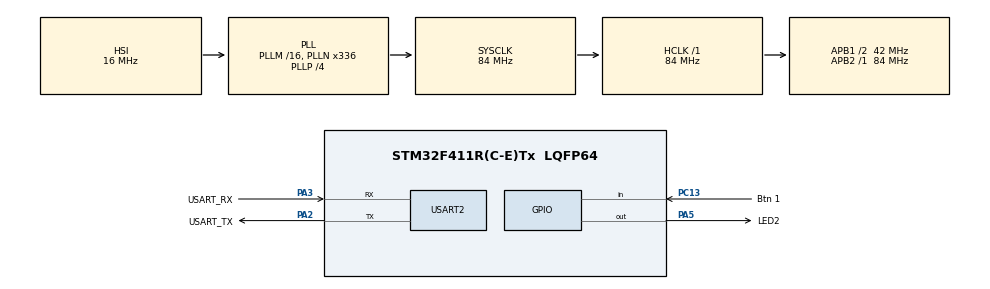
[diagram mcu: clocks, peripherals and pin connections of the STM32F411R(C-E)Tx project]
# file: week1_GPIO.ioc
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Mcu.Family=STM32F4
Mcu.Name=STM32F411R(C-E)Tx
Mcu.Package=LQFP64
NVIC.PriorityGroup=NVIC_PRIORITYGROUP_0
PA13.GPIO_Label=TMS
PA13.Mode=Serial_Wire
PA13.Signal=SYS_JTMS-SWDIO
PA14.GPIO_Label=TCK
PA14.Mode=Serial_Wire
PA14.Signal=SYS_JTCK-SWCLK
PA2.GPIO_Label=USART_TX
PA2.Mode=Asynchronous
PA2.Signal=USART2_TX
PA3.GPIO_Label=USART_RX
PA3.Mode=Asynchronous
PA3.Signal=USART2_RX
PA5.GPIO_Label=LED2
PA5.Signal=GPIO_Output
PB3.GPIO_Label=SWO
PB3.Signal=SYS_JTDO-SWO
PC13-ANTI_TAMP.GPIO_Label=Btn 1
PC13-ANTI_TAMP.Signal=GPIO_Input
PC14-OSC32_IN.Mode=LSE-External-Oscillator
PC14-OSC32_IN.Signal=RCC_OSC32_IN
PC15-OSC32_OUT.Mode=LSE-External-Oscillator
PC15-OSC32_OUT.Signal=RCC_OSC32_OUT
PH0\ -\ OSC_IN.Mode=HSE-External-Clock-Source
PH0\ -\ OSC_IN.Signal=RCC_OSC_IN
PH1\ -\ OSC_OUT.Mode=HSE-External-Clock-Source
PH1\ -\ OSC_OUT.Signal=RCC_OSC_OUT
ProjectManager.HeapSize=0x200
ProjectManager.StackSize=0x400
ProjectManager.TargetToolchain=STM32CubeIDE
RCC.48MHZClocksFreq_Value=84000000
RCC.AHBFreq_Value=84000000
RCC.APB1CLKDivider=RCC_HCLK_DIV2
RCC.APB1Freq_Value=42000000
RCC.APB1TimFreq_Value=84000000
RCC.APB2Freq_Value=84000000
RCC.APB2TimFreq_Value=84000000
RCC.CortexFreq_Value=84000000
RCC.FLatency-AdvancedSettings=FLASH_LATENCY_2
RCC.HCLKFreq_Value=84000000
RCC.HSE_VALUE=8000000
RCC.HSI_VALUE=16000000
RCC.PLLN=336
RCC.PLLP=RCC_PLLP_DIV4
RCC.SYSCLKFreq_VALUE=84000000
RCC.SYSCLKSource=RCC_SYSCLKSOURCE_PLLCLK
RCC.VCOOutputFreq_Value=336000000
USART2.VirtualMode=VM_ASYNC
board=NUCLEO-F411RE

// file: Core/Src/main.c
/* USER CODE BEGIN Header */
/**
  ******************************************************************************
  * @file           : main.c
  * @brief          : Main program body
  ******************************************************************************
  * @attention
  *
  * Copyright (c) 2022 STMicroelectronics.
  * All rights reserved.
  *
  * This software is licensed under terms that can be found in the LICENSE file
  * in the root directory of this software component.
  * If no LICENSE file comes with this software, it is provided AS-IS.
  *
  ******************************************************************************
  */
/* USER CODE END Header */
#include "main.h"

/* USER CODE BEGIN Includes */
#include "tresta.cpp"
/* USER CODE END Includes */

UART_HandleTypeDef huart2;

/* USER CODE BEGIN PV */
uint16_t counttera = 0;
uint16_t countterb = 0;
/* USER CODE END PV */

void SystemClock_Config(void);
static void MX_GPIO_Init(void);
static void MX_USART2_UART_Init(void);

int main(void)
{
  /* USER CODE BEGIN 1 */
	//int a;
  /* USER CODE END 1 */

  /* MCU Configuration--------------------------------------------------------*/

  /* Reset of all peripherals, Initializes the Flash interface and the Systick. */
  HAL_Init();

  /* Configure the system clock */
  SystemClock_Config();

  /* Initialize all configured peripherals */
  MX_GPIO_Init();
  MX_USART2_UART_Init();

  /* Infinite loop */
  /* USER CODE BEGIN WHILE */
  while (1)
  {
	  /*----1-----set pin--------------------*/
//	  HAL_GPIO_WritePin(GPIOA, GPIO_PIN_5, GPIO_PIN_SET); // LED2 PA5

	  /*----2------Button pin----------------*/
//	  GPIO_PinState BtnVal = HAL_GPIO_ReadPin(GPIOC, GPIO_PIN_13); // Button Read P C 13
//	  HAL_GPIO_WritePin(GPIOA, GPIO_PIN_5, BtnVal); // LED2 PA5

	  /*----3------toggle pin----------------*/
//	  static GPIO_PinState BtnArl[2] = {0};
//	  BtnArl[0] =  HAL_GPIO_ReadPin(GPIOC, GPIO_PIN_13); // Button Read P C 13
//	  if (BtnArl[1] == GPIO_PIN_SET && BtnArl[0] == GPIO_PIN_RESET)
//	  {
//		  HAL_GPIO_TogglePin(GPIOA, GPIO_PIN_5);
//	  }
//	  BtnArl[1] = BtnArl[0];

	  /*----4------1KHz button--------------------*/
//	  HAL_GPIO_TogglePin(GPIOA, GPIO_PIN_5);
//	  HAL_Delay(500);

	  /*----5------1KHz btn-gettik-------------------*/
//	  static uint32_t timestp = 0;
//	  if(HAL_GetTick() - timestp >= 500){ // 500 means (500,1) -> (500,0)
//		  timestp = HAL_GetTick(); // stamp time
//		  HAL_GPIO_TogglePin(GPIOA, GPIO_PIN_5);
//	  }

	  /*----6---- 1KHz - 500Hz LED shuffle-------------*/
//	  static GPIO_PinState BtnArl[2] = {0};
//	  static uint32_t freq = 500; //ms
//	  BtnArl[0] =  HAL_GPIO_ReadPin(GPIOC, GPIO_PIN_13); // Button Read P C 13
//	  if (BtnArl[1] == GPIO_PIN_SET && BtnArl[0] == GPIO_PIN_RESET) // Falling Edge Det.
//	  {
//		  if(freq == 100)
//		  {
//			  freq = 1000;
//		  }
//		  else{
//			  freq = 100;
//		  }
//	  }
//	  BtnArl[1] = BtnArl[0];
//
//	  static uint32_t timestp = 0;
//	  if(HAL_GetTick() - timestp >= freq){ // 500 means (500,1) -> (500,0)
//		  timestp = HAL_GetTick(); // stamp time
//		  HAL_GPIO_TogglePin(GPIOA, GPIO_PIN_5);
//	  }

	 /*Challenge breathe blink*/
	  // counter circuit
	  static uint32_t timestp = 0;
	  static uint32_t counter = 0;
	  uint8_t period = 4; // period 1 cycle
	  uint8_t duty = 1;
	  if(HAL_GetTick() - timestp >= duty){ //every 1 m sec
		  timestp = HAL_GetTick(); // stamp time

		  counttera++;
		  counttera %= 1023;
		  countterb = Gray(counttera);

		  if (counter >= period){
			  counter = 0;
		  }
		  else{counter++;}
	  }

	  static GPIO_PinState BtnArl[2] = {0};
	  static uint8_t freq = 0;
	  BtnArl[0] =  HAL_GPIO_ReadPin(GPIOC, GPIO_PIN_13); // Button Read P C 13
	  if (BtnArl[1] == GPIO_PIN_SET && BtnArl[0] == GPIO_PIN_RESET) // Falling Edge Det.
	  {
		  if(freq >= period){
			  freq = 0;}
		  else{
			  freq++;
		  }
	  }
	  BtnArl[1] = BtnArl[0];

	  if (counter < freq){
		  HAL_GPIO_WritePin(GPIOA, GPIO_PIN_5, GPIO_PIN_SET);
	  }
	  else{HAL_GPIO_WritePin(GPIOA, GPIO_PIN_5, GPIO_PIN_RESET);}

    /* USER CODE END WHILE */

    /* USER CODE BEGIN 3 */

	  // write here ------!!!!!!!!!!!!!
  }
  /* USER CODE END 3 */
}

void SystemClock_Config(void)
{
  RCC_OscInitTypeDef RCC_OscInitStruct = {0};
  RCC_ClkInitTypeDef RCC_ClkInitStruct = {0};

  /** Configure the main internal regulator output voltage
  */
  __HAL_RCC_PWR_CLK_ENABLE();
  __HAL_PWR_VOLTAGESCALING_CONFIG(PWR_REGULATOR_VOLTAGE_SCALE1);
  /** Initializes the RCC Oscillators according to the specified parameters
  * in the RCC_OscInitTypeDef structure.
  */
  RCC_OscInitStruct.OscillatorType = RCC_OSCILLATORTYPE_HSI;
  RCC_OscInitStruct.HSIState = RCC_HSI_ON;
  RCC_OscInitStruct.HSICalibrationValue = RCC_HSICALIBRATION_DEFAULT;
  RCC_OscInitStruct.PLL.PLLState = RCC_PLL_ON;
  RCC_OscInitStruct.PLL.PLLSource = RCC_PLLSOURCE_HSI;
  RCC_OscInitStruct.PLL.PLLM = 16;
  RCC_OscInitStruct.PLL.PLLN = 336;
  RCC_OscInitStruct.PLL.PLLP = RCC_PLLP_DIV4;
  RCC_OscInitStruct.PLL.PLLQ = 4;
  if (HAL_RCC_OscConfig(&RCC_OscInitStruct) != HAL_OK)
  {
    Error_Handler();
  }
  /** Initializes the CPU, AHB and APB buses clocks
  */
  RCC_ClkInitStruct.ClockType = RCC_CLOCKTYPE_HCLK|RCC_CLOCKTYPE_SYSCLK
                              |RCC_CLOCKTYPE_PCLK1|RCC_CLOCKTYPE_PCLK2;
  RCC_ClkInitStruct.SYSCLKSource = RCC_SYSCLKSOURCE_PLLCLK;
  RCC_ClkInitStruct.AHBCLKDivider = RCC_SYSCLK_DIV1;
  RCC_ClkInitStruct.APB1CLKDivider = RCC_HCLK_DIV2;
  RCC_ClkInitStruct.APB2CLKDivider = RCC_HCLK_DIV1;

  if (HAL_RCC_ClockConfig(&RCC_ClkInitStruct, FLASH_LATENCY_2) != HAL_OK)
  {
    Error_Handler();
  }
}

static void MX_USART2_UART_Init(void)
{

  huart2.Instance = USART2;
  huart2.Init.BaudRate = 115200;
  huart2.Init.WordLength = UART_WORDLENGTH_8B;
  huart2.Init.StopBits = UART_STOPBITS_1;
  huart2.Init.Parity = UART_PARITY_NONE;
  huart2.Init.Mode = UART_MODE_TX_RX;
  huart2.Init.HwFlowCtl = UART_HWCONTROL_NONE;
  huart2.Init.OverSampling = UART_OVERSAMPLING_16;
  if (HAL_UART_Init(&huart2) != HAL_OK)
  {
    Error_Handler();
  }

}

static void MX_GPIO_Init(void)
{
  GPIO_InitTypeDef GPIO_InitStruct = {0};

  /* GPIO Ports Clock Enable */
  __HAL_RCC_GPIOC_CLK_ENABLE();
  __HAL_RCC_GPIOH_CLK_ENABLE();
  __HAL_RCC_GPIOA_CLK_ENABLE();
  __HAL_RCC_GPIOB_CLK_ENABLE();

  /*Configure GPIO pin Output Level */
  HAL_GPIO_WritePin(LED2_GPIO_Port, LED2_Pin, GPIO_PIN_RESET);

  /*Configure GPIO pin : Btn_1_Pin */
  GPIO_InitStruct.Pin = Btn_1_Pin;
  GPIO_InitStruct.Mode = GPIO_MODE_INPUT;
  GPIO_InitStruct.Pull = GPIO_NOPULL;
  HAL_GPIO_Init(Btn_1_GPIO_Port, &GPIO_InitStruct);

  /*Configure GPIO pin : LED2_Pin */
  GPIO_InitStruct.Pin = LED2_Pin;
  GPIO_InitStruct.Mode = GPIO_MODE_OUTPUT_PP;
  GPIO_InitStruct.Pull = GPIO_NOPULL;
  GPIO_InitStruct.Speed = GPIO_SPEED_FREQ_LOW;
  HAL_GPIO_Init(LED2_GPIO_Port, &GPIO_InitStruct);

}

void Error_Handler(void)
{
  __disable_irq();
  while (1)
  {
  }
}
